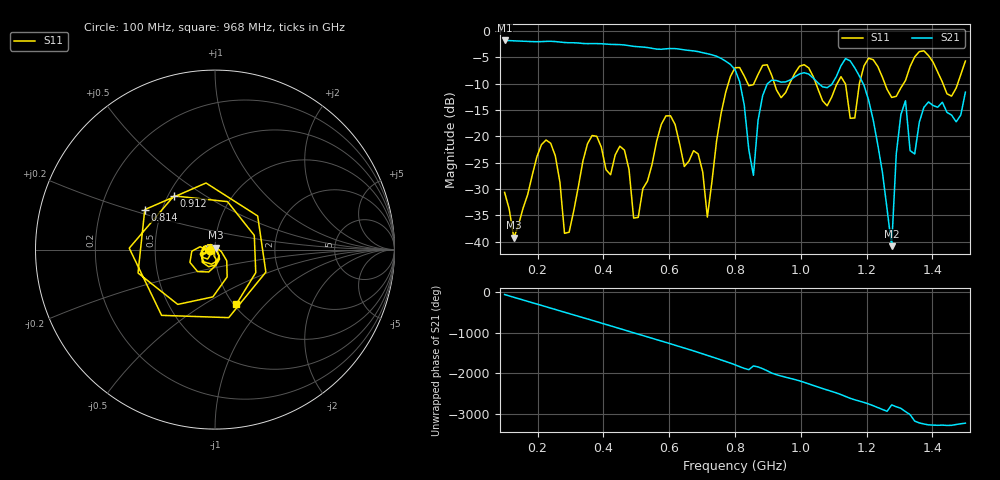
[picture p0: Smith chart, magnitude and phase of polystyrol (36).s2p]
! NanoVNA-App
! Date: 2025-09-26 09:42:09
! Start: 100MHz Stop: 1,5GHz Points: 101
! S-Parameter data: F S11 S21 S12 S22
# Hz S RI R 50
!  Frequency  S11_Real  S11_Imag  S21_Real  S21_Imag  S12_Real  S12_Imag  S22_Real  S22_Imag
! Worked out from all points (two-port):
!   101 points, 100 MHz to 1.5 GHz, reference 50 ohm
!   highest |S21| = -1.79 dB at 100 MHz (marker M1); lowest = -40.9 dB at 1.276 GHz (marker M2)
!   |S21| within 3 dB of the highest: start of sweep to 743.8 MHz
!   lowest |S11| = -39.3 dB at 128 MHz (marker M3), VSWR 1.02, Z = 50.3 + j1.05 ohm
!   |S11| at or under -10 dB: start of sweep to 779.6 MHz; 1.046 GHz to 1.11 GHz (64.22 MHz wide, 5.96 % of centre); 1.255 GHz to 1.312 GHz (56.52 MHz wide, 4.4 % of centre)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
!   S12 and S22 are empty: the file has one direction only
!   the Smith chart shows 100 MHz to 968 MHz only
!   S11 on the Smith chart (normalised r, x): 100 MHz: 0.94, -0.01; 814 MHz: 0.40, +0.22; 912 MHz: 0.54, +0.37; 968 MHz: 1.03, -0.70
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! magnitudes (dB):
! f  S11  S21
! 100 MHz  -30.7  -1.8
! 128 MHz  -39.3  -1.9
! 212 MHz  -21.6  -2.0
! 282 MHz  -38.4  -2.2
! 338 MHz  -24.7  -2.4
! 464 MHz  -22.6  -2.6
! 506 MHz  -35.4  -3.0
! 576 MHz  -17.8  -3.5
! 688 MHz  -23.3  -3.9
! 716 MHz  -35.4  -4.3
! 800 MHz  -7.0  -7.3
! 814 MHz  -6.9  -9.6
! 856 MHz  -10.2  -27.4
! 912 MHz  -8.5  -9.3
! 968 MHz  -9.7  -9.3
! 1.038 GHz  -8.7  -9.0
! 1.164 GHz  -16.5  -7.0
! 1.192 GHz  -6.6  -10.3
! 1.276 GHz  -12.6  -40.9
! 1.318 GHz  -9.4  -13.2
! 1.346 GHz  -4.9  -23.4
! 1.5 GHz  -5.7  -11.6
